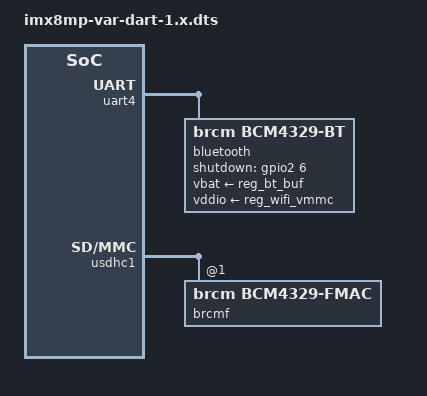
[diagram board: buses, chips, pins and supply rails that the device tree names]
// SPDX-License-Identifier: (GPL-2.0+ OR MIT)
/*
 * Device tree overlay to support the DART-MX8M-PLUS 1.x
 *
 * Copyright 2024 Variscite Ltd.
 */

/dts-v1/;
/plugin/;

#include <dt-bindings/gpio/gpio.h>

&bluetooth_iw61x {
	status = "disabled";
};

&reg_eqos_phy {
	gpio = <&gpio2 20 GPIO_ACTIVE_HIGH>;
};

&uart4 {
	bluetooth {
		compatible = "brcm,bcm4329-bt";
		pinctrl-names = "default";
		pinctrl-0 = <&pinctrl_bt_en>;
		clocks = <&osc_32k>;
		clock-names = "txco";
		max-speed = <3000000>;
		vbat-supply = <&reg_bt_buf>;
		vddio-supply = <&reg_wifi_vmmc>;
		shutdown-gpios = <&gpio2 6 GPIO_ACTIVE_HIGH>;
		brcm,bt-pcm-int-params = [01 00 00 00 00];
	};
};

/* WIFI */
&usdhc1 {
	brcmf: bcrmf@1 {
		reg = <1>;
		compatible = "brcm,bcm4329-fmac";
		laird,regdomain = "US";
	};
};
